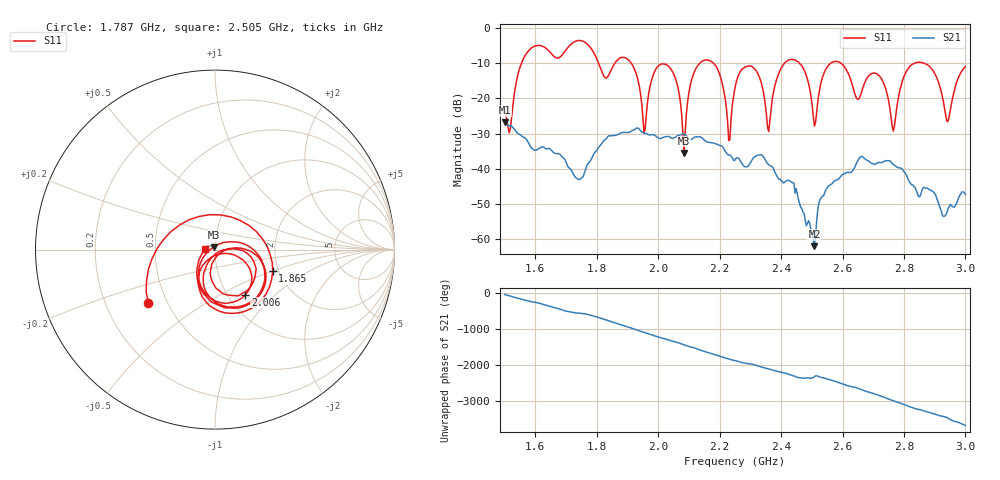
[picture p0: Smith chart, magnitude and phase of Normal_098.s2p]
# HZ S RI R 50
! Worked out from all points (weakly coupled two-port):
!   404 points, 1.5 GHz to 3 GHz, reference 50 ohm
!   highest |S21| = -26.81 dB at 1.5 GHz (marker M1); lowest = -62.1 dB at 2.509 GHz (marker M2)
!   lowest |S11| = -35.5 dB at 2.084 GHz (marker M3), VSWR 1.03, Z = 49.2 + j1.46 ohm
!   |S11| at or under -10 dB: 1.913 GHz to 2.135 GHz (222.3 MHz wide, 11 % of centre); 2.18 GHz to 2.411 GHz (230.5 MHz wide, 10 % of centre); 2.596 GHz to 2.833 GHz (237.4 MHz wide, 8.75 % of centre) (the widest 3 of 7)
!   S12 and S22 are empty: the file has one direction only
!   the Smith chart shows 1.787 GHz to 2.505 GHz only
!   S11 on the Smith chart (normalised r, x): 1.787 GHz: 0.39, -0.30; 1.865 GHz: 1.86, -0.50; 2.006 GHz: 1.21, -0.67; 2.505 GHz: 0.89, +0.00
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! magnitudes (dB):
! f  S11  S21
! 1.5 GHz  -23.3  -26.8
! 1.586 GHz  -5.8  -33.9
! 1.753 GHz  -3.6  -42.5
! 1.787 GHz  -6.4  -36.5
! 1.865 GHz  -9.3  -30.4
! 1.954 GHz  -29.7  -29.9
! 2.002 GHz  -10.6  -31.3
! 2.006 GHz  -10.4  -31.4
! 2.084 GHz  -35.5  -30.1
! 2.14 GHz  -9.6  -31.1
! 2.23 GHz  -32.0  -36.1
! 2.252 GHz  -16.1  -37.2
! 2.36 GHz  -29.4  -38.9
! 2.442 GHz  -9.0  -44.1
! 2.501 GHz  -22.0  -58.9
! 2.505 GHz  -25.1  -60.3
! 2.509 GHz  -27.9  -62.1
! 2.576 GHz  -9.5  -43.4
! 2.751 GHz  -20.9  -37.7
! 2.859 GHz  -9.8  -46.2
! 2.944 GHz  -26.4  -51.3
! 3 GHz  -10.9  -47.3
